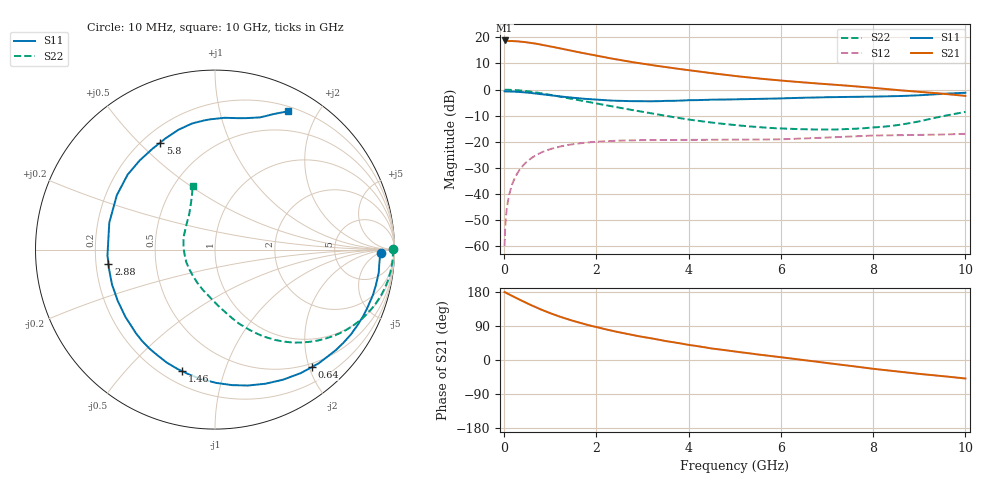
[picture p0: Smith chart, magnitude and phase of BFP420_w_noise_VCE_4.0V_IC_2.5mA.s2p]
! Infineon Technologies  Discrete & RF Semiconductors
! BFP420
! VCE =  4.0 V,  IC =  2.5 mA
! Common Emitter S-Parameters:  Jan 2016
# GHz  S  MA  R  50
!  f  S11  S21  S12  S22
! GHz  MAG  ANG  MAG  ANG  MAG  ANG  MAG  ANG
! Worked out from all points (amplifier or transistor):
!   233 points, 10 MHz to 10 GHz, reference 50 ohm
!   highest |S21| = 18.8 dB at 10 MHz (marker M1)
!   |S21| within 3 dB of that: start of sweep to 1.202 GHz
!   unconditionally stable (mu >= 1): 3.692 GHz to end of sweep
!   at 200 MHz: K = 0.07, MSG = 26.8 dB, |S12| = -35.1 dB
!   at 1.74 GHz: K = 0.40, MSG = 17.1 dB, |S12| = -20.4 dB
!   at 10 GHz: K = 1.19, MAG = 4.6 dB, |S12| = -17.0 dB
!   lowest NFmin = 0.55 dB at 900 MHz
!   S11 on the Smith chart (normalised r, x): 10 MHz: 24, -7; 640 MHz: 0.44, -2.04; 1.46 GHz: 0.27, -0.73; 2.88 GHz: 0.25, -0.06; 5.8 GHz: 0.27, +0.58; 10 GHz: 0.26, +1.62
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0.01  0.926 -1.2  8.733 179.1  0.001 61.6  0.9905 0.1
0.02  0.9208 -1.7  8.49 178.9  0.002 73.2  0.9912 -0.8
0.05  0.9185 -4.0  8.509 176.7  0.0046 80.0  0.9917 -2.1
0.16  0.9175 -13.0  8.519 170.0  0.0142 80.4  0.9858 -6.9
0.3  0.9051 -24.2  8.379 161.4  0.0261 75.4  0.9695 -13.0
0.44  0.8851 -35.3  8.147 153.1  0.0375 69.8  0.944 -18.8
0.64  0.848 -50.6  7.695 141.7  0.0519 61.7  0.8952 -26.5
0.8  0.818 -62.4  7.273 133.2  0.0619 55.9  0.8516 -32.2
1  0.7792 -76.4  6.729 123.5  0.0723 49.3  0.7933 -38.6
1.2  0.7429 -89.4  6.189 114.7  0.0807 43.4  0.736 -44.3
1.46  0.7017 -105.1  5.547 104.6  0.089 36.7  0.6658 -50.9
1.68  0.6729 -117.4  5.068 96.8  0.0944 31.8  0.6118 -55.7
1.9  0.6508 -128.8  4.63 89.6  0.0986 27.5  0.5625 -60.1
2.2  0.6241 -143.2  4.128 80.9  0.1026 22.5  0.5031 -65.3
2.88  0.5988 -172.3  3.254 63.8  0.1071 13.5  0.3911 -76.2
3.4  0.6018 169.1  2.778 52.5  0.1081 8.5  0.3252 -84.7
4.5  0.6415 139.3  2.063 30.4  0.1094 1.5  0.2334 -107.2
5.1  0.6512 128.5  1.783 20.9  0.1098 -0.8  0.2053 -120.2
5.8  0.6699 117.1  1.545 10.3  0.111 -2.5  0.1835 -137.5
6.8  0.7067 102.9  1.307 -4.8  0.1185 -4.6  0.1716 -164.9
8.4  0.7444 79.6  1.002 -28.8  0.1332 -13.5  0.2015 144.8
10  0.8695 62.3  0.758 -48.8  0.1419 -20.1  0.3738 109.3
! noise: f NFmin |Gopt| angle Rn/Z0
0.9  0.55  0.41  33  0.2
1.8  1.02  0.24  78  0.16
2.4  1.11  0.26  103  0.15
3  1.28  0.27  140  0.11
4  1.5  0.34  -163  0.1
5  1.85  0.4  -130  0.26
6  2.56  0.5  -109  0.35
